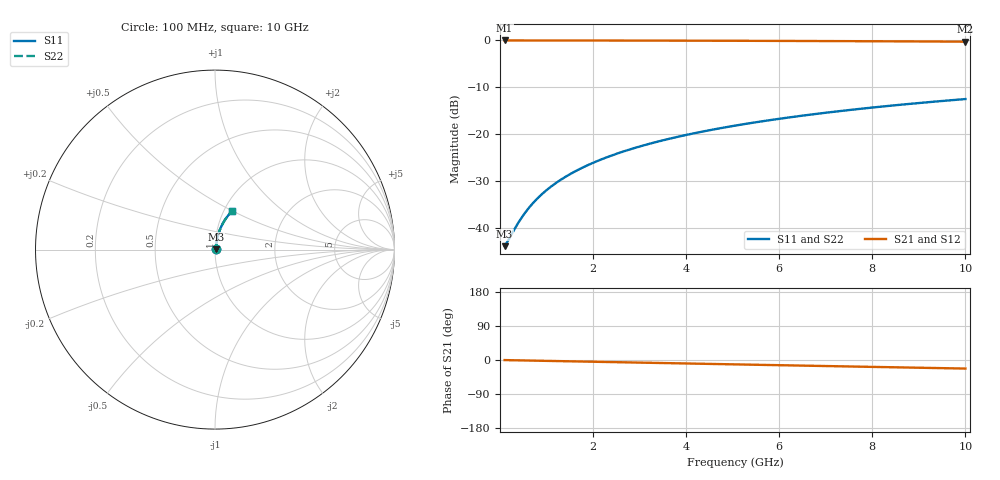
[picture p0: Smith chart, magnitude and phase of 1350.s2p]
# Hz S RI R 50.00
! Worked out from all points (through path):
!   100 points, 100 MHz to 10 GHz, reference 50 ohm
!   highest |S21| = -0.05 dB at 100 MHz (marker M1); lowest = -0.3 dB at 10 GHz (marker M2)
!   group delay of S21, straight-line fit = 6.28 ps
!   lowest |S11| = -43.8 dB at 100 MHz (marker M3), VSWR 1.01, Z = 50.6 + j0.248 ohm
!   |S11| at or under -10 dB: start of sweep to end of sweep
!   |S22| runs from -43.8 to -12.5 dB; largest |S21 - S12| = 0
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1e8  0.00598 0.00245  0.994 -0.00398  0.994 -0.00398  0.00598 0.00245
2e8  0.00605 0.00489  0.9939 -0.00797  0.9939 -0.00797  0.00605 0.00489
4e8  0.00622 0.00979  0.9938 -0.0159  0.9938 -0.0159  0.00622 0.00979
5e8  0.00633 0.0122  0.9936 -0.0199  0.9936 -0.0199  0.00633 0.0122
6e8  0.00646 0.0147  0.9935 -0.0239  0.9935 -0.0239  0.00646 0.0147
7e8  0.0066 0.0171  0.9933 -0.0279  0.9933 -0.0279  0.0066 0.0171
8e8  0.00676 0.0196  0.9932 -0.0318  0.9932 -0.0318  0.00676 0.0196
1e9  0.00714 0.0244  0.9927 -0.0398  0.9927 -0.0398  0.00714 0.0244
1.2e9  0.00759 0.0293  0.9922 -0.0477  0.9922 -0.0477  0.00759 0.0293
1.5e9  0.00841 0.0366  0.9913 -0.0596  0.9913 -0.0596  0.00841 0.0366
1.8e9  0.0094 0.0438  0.9902 -0.0715  0.9902 -0.0715  0.0094 0.0438
2.1e9  0.0106 0.0511  0.9889 -0.0833  0.9889 -0.0833  0.0106 0.0511
2.5e9  0.0124 0.0607  0.9868 -0.0991  0.9868 -0.0991  0.0124 0.0607
2.9e9  0.0145 0.0702  0.9845 -0.1148  0.9845 -0.1148  0.0145 0.0702
3.4e9  0.0176 0.0819  0.981 -0.1342  0.981 -0.1342  0.0176 0.0819
4.2e9  0.0234 0.1005  0.9744 -0.1651  0.9744 -0.1651  0.0234 0.1005
5.1e9  0.0314 0.1207  0.9655 -0.1992  0.9655 -0.1992  0.0314 0.1207
5.9e9  0.0396 0.1381  0.9562 -0.229  0.9562 -0.229  0.0396 0.1381
6.7e9  0.0489 0.1549  0.9457 -0.2582  0.9457 -0.2582  0.0489 0.1549
7.5e9  0.0591 0.171  0.934 -0.2867  0.934 -0.2867  0.0591 0.171
8.4e9  0.0717 0.1882  0.9197 -0.3178  0.9197 -0.3178  0.0717 0.1882
1e10  0.0968 0.2162  0.891 -0.3707  0.891 -0.3707  0.0968 0.2162
